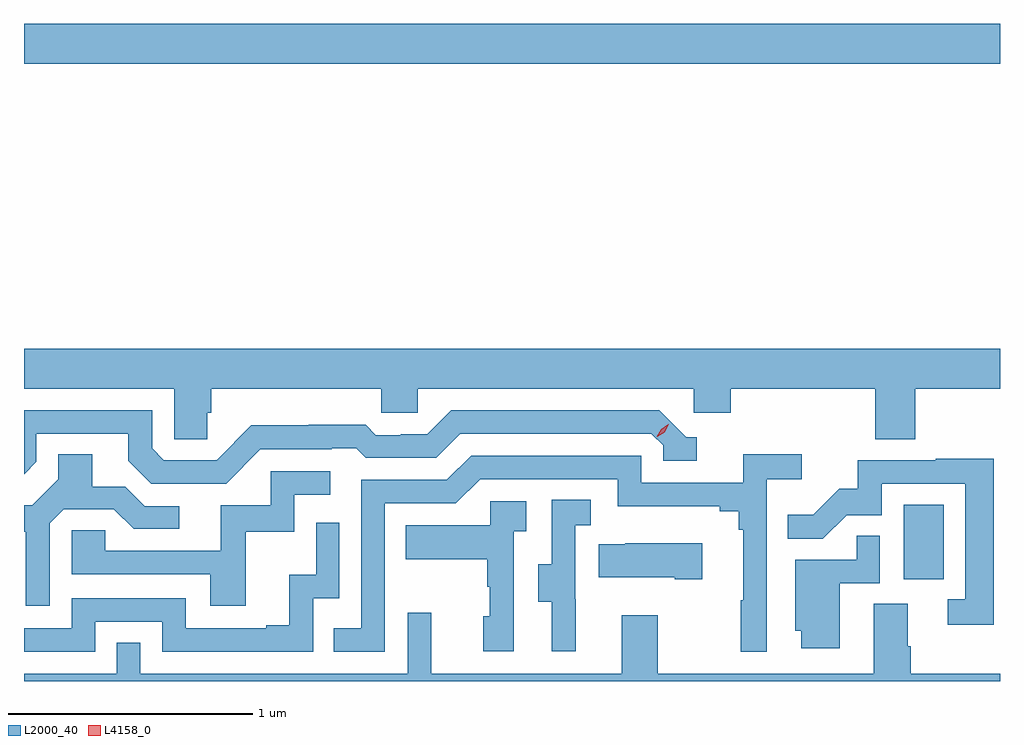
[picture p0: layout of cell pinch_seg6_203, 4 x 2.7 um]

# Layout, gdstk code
import gdstk
lib = gdstk.Library(unit=1e-6, precision=1e-09)
def R(c, l, rs):  # rectangles x0, y0, x1, y1
    for r in rs: c.add(gdstk.rectangle(r[:2], r[2:], *l))
def P(c, l, *ps):  # polygons
    for p in ps: c.add(gdstk.Polygon(p, *l))
L2000_40 = (2000, 40)
L4158_0 = (4158, 0)

pinch_seg6_203 = lib.new_cell('pinch_seg6_203')
R(pinch_seg6_203, L2000_40, [(1058.468,915.918,1058.632,916.225), (1054.863,918.032,1058.863,918.196)])
P(pinch_seg6_203, L2000_40, [(1055.615,916.602),(1055.63,916.602),(1055.63,916.7),(1056.327,916.7),(1056.327,916.602),(1056.477,916.602),(1056.477,916.7),(1057.608,916.7),(1057.608,916.602),(1057.76,916.602),(1057.76,916.7),(1058.351,916.7),(1058.351,916.492),(1058.516,916.492),(1058.516,916.7),(1058.863,916.7),(1058.863,916.864),(1054.863,916.864),(1054.863,916.7),(1055.478,916.7),(1055.478,916.492),(1055.615,916.492)],
  [(1055.832,916.452),(1056.125,916.452),(1056.125,916.455),(1056.224,916.455),(1056.263,916.416),(1056.552,916.416),(1056.651,916.515),(1057.434,916.515),(1057.482,916.467),(1057.482,916.404),(1057.621,916.404),(1057.621,916.5),(1057.578,916.5),(1057.467,916.611),(1056.614,916.611),(1056.515,916.512),(1056.408,916.512),(1056.408,916.509),(1056.305,916.509),(1056.263,916.552),(1056.03,916.552),(1056.03,916.549),(1055.794,916.549),(1055.652,916.407),(1055.436,916.407),(1055.388,916.455),(1055.388,916.611),(1054.863,916.611),(1054.863,916.35),(1054.914,916.401),(1054.914,916.515),(1055.291,916.515),(1055.291,916.405),(1055.385,916.311),(1055.691,916.311)],
  [(1056.342,916.23),(1056.633,916.23),(1056.732,916.329),(1057.296,916.329),(1057.296,916.217),(1057.715,916.217),(1057.715,916.198),(1057.792,916.198),(1057.792,916.121),(1057.811,916.121),(1057.811,915.833),(1057.8,915.833),(1057.8,915.621),(1057.908,915.621),(1057.908,916.328),(1058.05,916.328),(1058.05,916.43),(1057.811,916.43),(1057.811,916.314),(1057.392,916.314),(1057.392,916.425),(1056.695,916.425),(1056.596,916.326),(1056.246,916.326),(1056.246,915.717),(1056.133,915.717),(1056.133,915.621),(1056.342,915.621)],
  [(1054.968,916.149),(1055.025,916.206),(1055.231,916.206),(1055.312,916.125),(1055.5,916.125),(1055.5,916.218),(1055.358,916.218),(1055.278,916.298),(1055.143,916.298),(1055.143,916.43),(1055.003,916.43),(1055.003,916.328),(1054.896,916.221),(1054.863,916.221),(1054.863,916.113),(1054.871,916.113),(1054.871,915.81),(1054.968,915.81)],
  [(1058.837,916.412),(1058.599,916.412),(1058.599,916.407),(1058.281,916.407),(1058.281,916.29),(1058.204,916.29),(1058.097,916.183),(1057.993,916.183),(1057.993,916.084),(1058.136,916.084),(1058.234,916.182),(1058.379,916.182),(1058.379,916.311),(1058.721,916.311),(1058.721,915.837),(1058.649,915.837),(1058.649,915.732),(1058.837,915.732)],
  [(1055.771,916.113),(1055.97,916.113),(1055.97,916.266),(1056.118,916.266),(1056.118,916.362),(1055.874,916.362),(1055.874,916.221),(1055.669,916.221),(1055.669,916.035),(1055.195,916.035),(1055.195,916.119),(1055.058,916.119),(1055.058,915.939),(1055.627,915.939),(1055.627,915.81),(1055.771,915.81)],
  [(1057.124,915.837),(1057.122,915.837),(1057.122,916.141),(1057.186,916.141),(1057.186,916.244),(1057.026,916.244),(1057.026,915.981),(1056.971,915.981),(1056.971,915.826),(1057.025,915.826),(1057.025,915.624),(1057.124,915.624)],
  [(1056.87,916.115),(1056.922,916.115),(1056.922,916.239),(1056.774,916.239),(1056.774,916.141),(1056.427,916.141),(1056.427,916.001),(1056.762,916.001),(1056.762,915.887),(1056.772,915.887),(1056.772,915.768),(1056.746,915.768),(1056.746,915.624),(1056.87,915.624)],
  [(1055.154,915.744),(1055.43,915.744),(1055.43,915.621),(1056.048,915.621),(1056.048,915.84),(1056.156,915.84),(1056.156,916.15),(1056.06,916.15),(1056.06,915.938),(1055.951,915.938),(1055.951,915.73),(1055.855,915.73),(1055.855,915.717),(1055.526,915.717),(1055.526,915.84),(1055.058,915.84),(1055.058,915.717),(1054.863,915.717),(1054.863,915.621),(1055.154,915.621)],
  [(1058.206,915.903),(1058.37,915.903),(1058.37,916.097),(1058.275,916.097),(1058.275,915.999),(1058.024,915.999),(1058.024,915.708),(1058.048,915.708),(1058.048,915.636),(1058.206,915.636)],
  [(1057.642,916.066),(1057.327,916.066),(1057.327,916.063),(1057.219,916.063),(1057.219,915.926),(1057.529,915.926),(1057.529,915.919),(1057.642,915.919)],
  [(1058.863,915.532),(1058.498,915.532),(1058.498,915.644),(1058.485,915.644),(1058.485,915.818),(1058.345,915.818),(1058.345,915.532),(1057.461,915.532),(1057.461,915.772),(1057.313,915.772),(1057.313,915.532),(1056.533,915.532),(1056.533,915.781),(1056.435,915.781),(1056.435,915.532),(1055.34,915.532),(1055.34,915.659),(1055.244,915.659),(1055.244,915.532),(1054.863,915.532),(1054.863,915.5),(1058.863,915.5)])
P(pinch_seg6_203, L4158_0, [(1057.457,916.502),(1057.457,916.502),(1057.474,916.534),(1057.504,916.554),(1057.505,916.554),(1057.505,916.553),(1057.488,916.521),(1057.458,916.502)])

lib.write_gds('pinch_seg6_203.gds')
